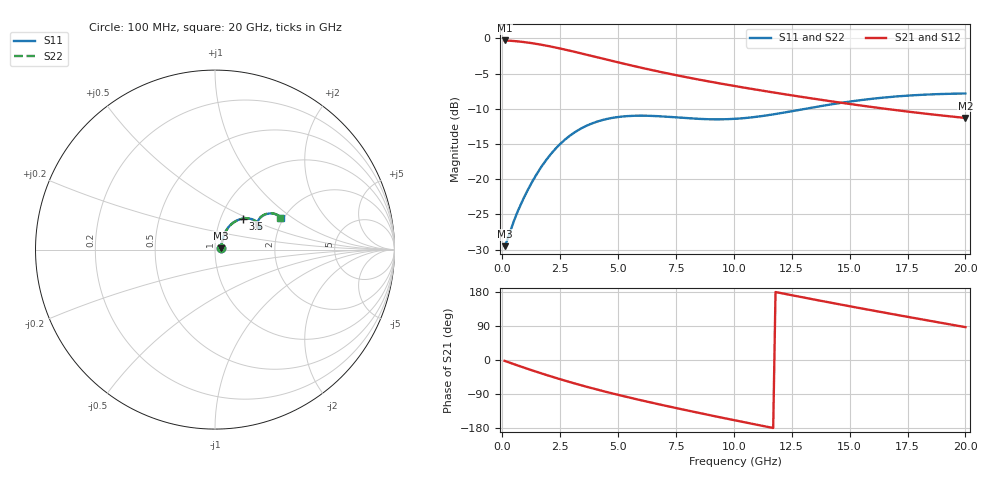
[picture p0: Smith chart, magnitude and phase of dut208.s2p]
! Touchstone file exported from HFSS 2024.1.0
!  File:  C:/UserFiles/LocalFiles/RDL_TSV_Batchsim/temp_RDL_TSV_208_1779445511.aedt
!  Generated:  06:43:46 PM May 22, 2026
!  Design:  RDL_TSV
!  Project:  temp_RDL_TSV_208_1779445511
!  Setup:  Setup1
!  Solution:  Sweep
! Variables:
!  dtsv = 10.73um
!  hbump = 3um
!  htsv = 64.28um
!  ldown = 493.19um
!  lrdl = 673.27um
!  p = 40
!  p1 = 40.89um
!  rhole = 10um
!  subl = 4172.65um
!  t = 450um
!  tdown = 2.43um
!  trdl = 3.18um
!  viad = 10um
!  wdown = 20um
!  wrdl = 13.35um
!  xbump = 18um
# GHz S MA R 50.000000
! Terminal data exported
! Port[1] = TM1_1_T1
! Port[2] = TM1_4_T1
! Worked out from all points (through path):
!   200 points, 100 MHz to 20 GHz, reference 50 ohm
!   highest |S21| = -0.29 dB at 100 MHz (marker M1); lowest = -11.3 dB at 20 GHz (marker M2)
!   group delay of S21, straight-line fit = 36.3 ps
!   lowest |S11| = -29.5 dB at 100 MHz (marker M3), VSWR 1.07, Z = 53.4 + j0.787 ohm
!   |S11| at or under -10 dB: start of sweep to 13.09 GHz
!   |S22| runs from -29.5 to -7.8 dB; largest |S21 - S12| = 8.5e-15
!   S11 on the Smith chart (normalised r, x): 100 MHz: 1.07, +0.02; 3.5 GHz: 1.28, +0.47; 20 GHz: 1.92, +0.82
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0.1  0.03345 12.7  0.9672 -2.2  0.9672 -2.2  0.03345 12.7
! Gamma 0 0 0 0
! Port Impedance 50 0 50 0
0.5  0.05042 41.9  0.9583 -11.0  0.9583 -11.0  0.05043 41.9
0.9  0.07192 53.1  0.9435 -19.4  0.9435 -19.4  0.07193 53.0
1.3  0.09642 58.2  0.9242 -27.6  0.9242 -27.6  0.0964 58.1
1.7  0.1233 59.7  0.9011 -35.5  0.9011 -35.5  0.1233 59.5
2.1  0.1511 58.7  0.8753 -43.3  0.8753 -43.3  0.1509 58.6
2.6  0.1844 55.6  0.8407 -52.6  0.8407 -52.6  0.1841 55.4
3  0.2084 52.3  0.8121 -59.7  0.8121 -59.7  0.2079 52.1
3.5  0.2337 47.8  0.7763 -68.3  0.7763 -68.3  0.2331 47.6
4.2  0.2597 41.6  0.7277 -79.7  0.7277 -79.7  0.2588 41.4
5.1  0.2778 34.7  0.6701 -93.4  0.6701 -93.4  0.2766 34.5
5.9  0.2826 30.1  0.6245 -105.0  0.6245 -105.0  0.2811 29.9
6.8  0.2799 26.7  0.5795 -117.4  0.5795 -117.4  0.2781 26.6
7.6  0.2742 25.5  0.5444 -128.1  0.5444 -128.1  0.2722 25.4
8.4  0.2688 25.8  0.5132 -138.4  0.5132 -138.4  0.2667 25.8
10.1  0.2688 29.7  0.4571 -159.9  0.4571 -159.9  0.2668 29.9
11.6  0.287 33.6  0.416 -178.2  0.416 -178.2  0.2853 33.9
13.4  0.3229 35.3  0.374 160.4  0.374 160.4  0.3218 35.6
15  0.3558 34.2  0.3423 141.9  0.3423 141.9  0.355 34.4
16.7  0.3832 31.5  0.3139 122.8  0.3139 122.8  0.3826 31.7
18.3  0.399 28.6  0.2917 105.2  0.2917 105.2  0.3987 28.8
20  0.4063 26.0  0.2724 86.7  0.2724 86.7  0.406 26.1
